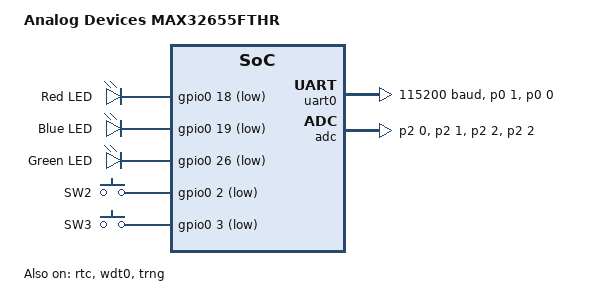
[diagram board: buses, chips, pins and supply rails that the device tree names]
/*
 * Copyright (c) 2023 Analog Devices, Inc.
 *
 * SPDX-License-Identifier: Apache-2.0
 */

/dts-v1/;

 #include <adi/max32/max32655.dtsi>
 #include <adi/max32/max32655-pinctrl.dtsi>
 #include <zephyr/dt-bindings/gpio/adi-max32-gpio.h>

/ {
	 model = "Analog Devices MAX32655FTHR";
	 compatible = "adi,max32655fthr";

	 chosen {
		 zephyr,console = &uart0;
		 zephyr,shell-uart = &uart0;
		 zephyr,sram = &sram0;
		 zephyr,flash = &flash0;
	 };

	 leds {
		 compatible = "gpio-leds";
		 led1: led_1 {
			 gpios = <&gpio0 18 GPIO_ACTIVE_LOW>;
			 label = "Red LED";
		 };
		 led2: led_2 {
			 gpios = <&gpio0 19 GPIO_ACTIVE_LOW>;
			 label = "Blue LED";
		 };
		 led3: led_3 {
			 gpios = <&gpio0 26 GPIO_ACTIVE_LOW>;
			 label = "Green LED";
		 };
	 };

	 buttons {
		 compatible = "gpio-keys";
		 pb1: pb1 {
			 gpios = <&gpio0 2 (GPIO_PULL_UP | GPIO_ACTIVE_LOW)>;
			 label = "SW2";
		 };
		 pb2: pb2 {
			 gpios = <&gpio0 3 (GPIO_PULL_UP | GPIO_ACTIVE_LOW)>;
			 label = "SW3";
		 };
	 };

	 /* These aliases are provided for compatibility with samples */
	 aliases {
		led0 = &led1;
		led1 = &led2;
		led2 = &led3;
		sw0 = &pb1;
		sw1 = &pb2;
		rtc = &rtc;
		watchdog0 = &wdt0;
	 };
};

&uart0 {
	pinctrl-0 = <&uart0a_tx_p0_1 &uart0a_rx_p0_0>;
	pinctrl-names = "default";
	current-speed = <115200>;
	data-bits = <8>;
	parity = "none";
	status = "okay";
};

&adc {
	status = "okay";
	pinctrl-0 = <&ain0_p2_0 &ain1_p2_1 &ain2_p2_2 &ain2_p2_2>;
	pinctrl-names = "default";
	#address-cells = <1>;
	#size-cells = <0>;
};

&clk_ipo {
	status = "okay";
};

/*
 * IBRO clock requires for UART
 */
&clk_ibro {
	status = "okay";
};

/*
 * ERTCO requires for RTC
 */
&clk_ertco {
	status = "okay";
};

&gpio0 {
	status = "okay";
};

&gpio1 {
	status = "okay";
};

&gpio2 {
	status = "okay";
};

&rtc {
	status = "okay";
	alarms-count = <1>;
};

&wdt0 {
	status = "okay";
};

&trng {
	status = "okay";
};

&dma0 {
	status = "okay";
};
